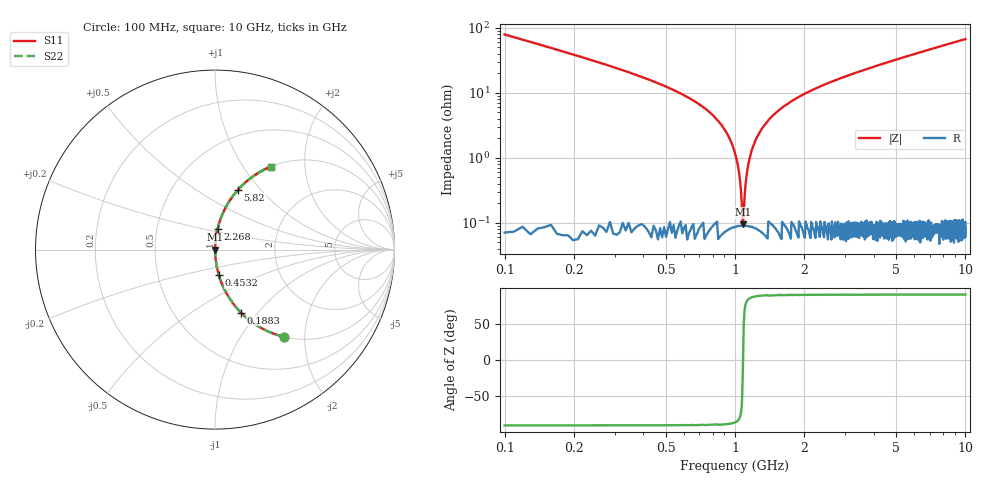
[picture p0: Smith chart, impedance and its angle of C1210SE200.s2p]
! AVX Thin Film Operation		Date: April 2012
! Description: Accu-P® Series, Thin Film, SMD, RF Capacitor
! Part Number: 12101J200FBTTR
!	100	MHz	-	10.05	GHz
!	Serial	Measurements
#	MHZ	S	MA	R	50
!	S11	S21	S12	S22
!	dB	Phase	dB	Phase	dB	Phase	dB	Phase
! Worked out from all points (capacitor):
!   1010 points, 100 MHz to 10 GHz, reference 50 ohm
!   read as one part in series: C = 20 pF near 149.1 MHz
!   lowest |Z| = 94.7 mohm at 1.081 GHz (marker M1)
!   series resonance near 1.083 GHz, so ESL is about 1.1 nH
!   S11 on the Smith chart (normalised r, x): 100 MHz: 1.00, -1.58; 188.3 MHz: 1.00, -0.82; 453.2 MHz: 1.00, -0.29; 2.268 GHz: 1.00, +0.24; 5.82 GHz: 1.00, +0.76; 10 GHz: 1.00, +1.34
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100  0.619 -51.7  0.785 38.3  0.785 38.3  0.619 -51.7
188.305  0.379 -67.6  0.925 22.3  0.925 22.3  0.379 -67.6
453.221  0.143 -81.4  0.989 8.2  0.989 8.2  0.143 -81.4
737.76  0.058 -85.9  0.998 3.3  0.998 3.3  0.058 -85.9
894.747  0.028 -86.8  0.999 1.6  0.999 1.6  0.028 -86.8
983.053  0.014 -86.0  0.999 0.8  0.999 0.8  0.014 -86.0
1012.488  0.00996 -84.8  0.999 0.6  0.999 0.6  0.00996 -84.8
1051.734  0.00441 -79.3  0.999 0.2  0.999 0.2  0.00441 -79.3
1081.169  0.00085 -19.8  0.999 0.0  0.999 0.0  0.00085 -19.8
1120.416  0.00501 80.5  0.999 -0.3  0.999 -0.3  0.00501 80.5
1149.851  0.00879 84.3  0.999 -0.5  0.999 -0.5  0.00879 84.3
1189.098  0.014 85.9  0.999 -0.8  0.999 -0.8  0.014 85.9
1277.403  0.024 86.7  0.999 -1.4  0.999 -1.4  0.024 86.7
1454.014  0.044 86.4  0.998 -2.5  0.998 -2.5  0.044 86.4
1758.176  0.074 85.2  0.996 -4.2  0.996 -4.2  0.074 85.2
2268.385  0.118 82.8  0.992 -6.8  0.992 -6.8  0.118 82.8
3406.541  0.203 78.1  0.978 -11.7  0.978 -11.7  0.203 78.1
5054.906  0.311 71.8  0.95 -18.1  0.95 -18.1  0.311 71.8
5820.218  0.356 69.0  0.934 -20.8  0.934 -20.8  0.356 69.0
6703.271  0.405 66.0  0.914 -23.9  0.914 -23.9  0.405 66.0
8351.635  0.486 60.8  0.873 -29.1  0.873 -29.1  0.486 60.8
10000  0.556 56.1  0.83 -33.8  0.83 -33.8  0.556 56.1
